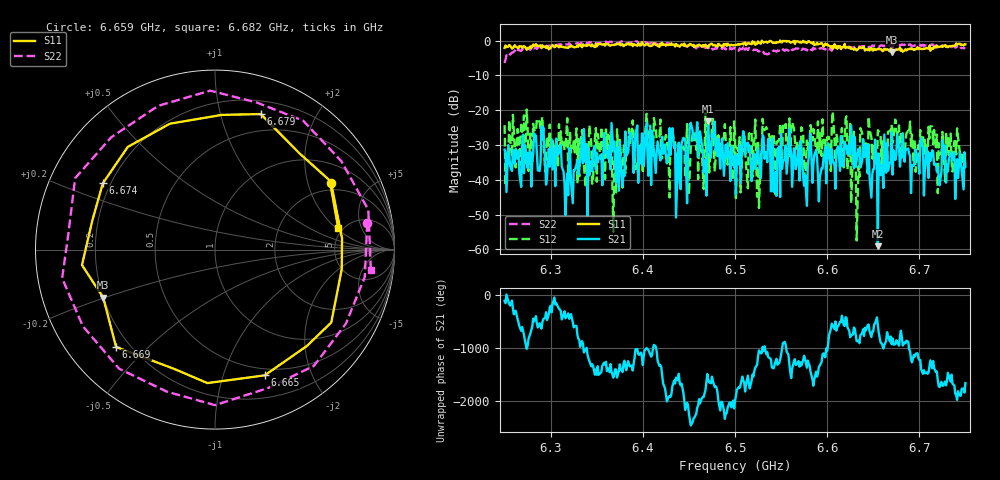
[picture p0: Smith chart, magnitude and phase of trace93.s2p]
# Hz S RI R 50
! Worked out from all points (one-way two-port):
!   401 points, 6.25 GHz to 6.75 GHz, reference 50 ohm
!   highest |S21| = -23.16 dB at 6.471 GHz (marker M1); lowest = -59.1 dB at 6.655 GHz (marker M2)
!   lowest |S11| = -3.4 dB at 6.67 GHz (marker M3), VSWR 5.21, Z = 9.99 - j9.93 ohm
!   |S11| at or under -10 dB: nowhere
!   |S22| runs from -6.4 to 0.0 dB; largest |S21 - S12| = 0.13
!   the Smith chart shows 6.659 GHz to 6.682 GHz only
!   S11 on the Smith chart (normalised r, x): 6.659 GHz: 1.70, +2.83; 6.665 GHz: 0.43, -1.38; 6.669 GHz: 0.15, -0.40; 6.674 GHz: 0.17, +0.27; 6.679 GHz: 0.32, +1.34; 6.682 GHz: 4.59, +2.11
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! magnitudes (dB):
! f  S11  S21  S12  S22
! 6.25 GHz  -2.1  -31.3  -24.3  -6.4
! 6.309 GHz  -1.9  -31.1  -24.0  -1.1
! 6.316 GHz  -1.9  -50.1  -31.2  -1.1
! 6.334 GHz  -1.9  -28.0  -25.7  -0.5
! 6.362 GHz  -1.0  -33.8  -27.0  -0.6
! 6.369 GHz  -1.3  -29.0  -33.9  -0.6
! 6.418 GHz  -1.8  -32.8  -27.8  -1.2
! 6.471 GHz  -1.6  -23.2  -32.4  -2.2
! 6.5 GHz  -1.3  -33.3  -26.7  -2.1
! 6.584 GHz  -0.9  -40.9  -28.7  -2.8
! 6.622 GHz  -1.8  -32.6  -37.1  -1.7
! 6.632 GHz  -2.8  -34.4  -57.4  -1.5
! 6.655 GHz  -2.3  -59.1  -25.7  -1.8
! 6.659 GHz  -2.6  -35.7  -36.5  -1.3
! 6.665 GHz  -2.5  -29.4  -35.6  -1.2
! 6.668 GHz  -3.1  -35.1  -25.9  -1.4
! 6.669 GHz  -2.2  -34.7  -25.9  -1.4
! 6.67 GHz  -3.4  -26.3  -24.1  -1.2
! 6.674 GHz  -2.8  -34.3  -22.7  -1.4
! 6.679 GHz  -2.0  -36.2  -33.8  -1.2
! 6.682 GHz  -3.1  -26.6  -32.6  -1.1
! 6.75 GHz  -1.0  -36.2  -33.4  -2.3
